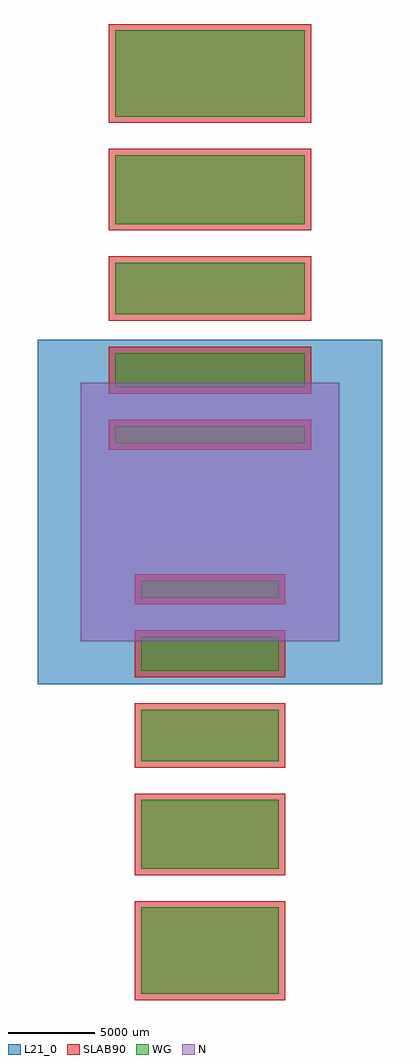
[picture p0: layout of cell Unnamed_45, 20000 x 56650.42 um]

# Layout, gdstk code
import gdstk
lib = gdstk.Library(unit=1e-6, precision=1e-09)
def R(c, l, rs):  # rectangles x0, y0, x1, y1
    for r in rs: c.add(gdstk.rectangle(r[:2], r[2:], *l))
WG = (1, 0)
SLAB90 = (3, 0)
N = (20, 0)
L21_0 = (21, 0)

rectangle_s8742p34_5742_ = lib.new_cell('rectangle_S8742p34_5742_4a83a035')
R(rectangle_s8742p34_5742_, SLAB90, [(0,0,8742.34,5742.34)])

rectangle_s8000_5000_l1_ = lib.new_cell('rectangle_S8000_5000_L1_2ba6e788')
R(rectangle_s8000_5000_l1_, WG, [(0,0,8000,5000)])

rectangle_s8742p34_2742_ = lib.new_cell('rectangle_S8742p34_2742_67719fb8')
R(rectangle_s8742p34_2742_, SLAB90, [(0,0,8742.34,2742.34)])

rectangle_s8742p34_4742_ = lib.new_cell('rectangle_S8742p34_4742_cfbb0fcc')
R(rectangle_s8742p34_4742_, SLAB90, [(0,0,8742.34,4742.34)])

rectangle_s8000_2000_l1_ = lib.new_cell('rectangle_S8000_2000_L1_fef059b4')
R(rectangle_s8000_2000_l1_, WG, [(0,0,8000,2000)])

rectangle_s8000_4000_l1_ = lib.new_cell('rectangle_S8000_4000_L1_e560298a')
R(rectangle_s8000_4000_l1_, WG, [(0,0,8000,4000)])

rectangle_s8742p34_1742_ = lib.new_cell('rectangle_S8742p34_1742_92dfabc6')
R(rectangle_s8742p34_1742_, SLAB90, [(0,0,8742.34,1742.34)])

rectangle_s11742p34_274_ = lib.new_cell('rectangle_S11742p34_274_6a9b768a')
R(rectangle_s11742p34_274_, SLAB90, [(0,0,11742.34,2742.34)])

rectangle_s11000_5000_l_ = lib.new_cell('rectangle_S11000_5000_L_96728673')
R(rectangle_s11000_5000_l_, WG, [(0,0,11000,5000)])

rectangle_s11000_2000_l_ = lib.new_cell('rectangle_S11000_2000_L_f2caadc2')
R(rectangle_s11000_2000_l_, WG, [(0,0,11000,2000)])

rectangle_s11742p34_474_ = lib.new_cell('rectangle_S11742p34_474_08453407')
R(rectangle_s11742p34_474_, SLAB90, [(0,0,11742.34,4742.34)])

rectangle_s11742p34_174_ = lib.new_cell('rectangle_S11742p34_174_d1575f04')
R(rectangle_s11742p34_174_, SLAB90, [(0,0,11742.34,1742.34)])

rectangle_s11000_4000_l_ = lib.new_cell('rectangle_S11000_4000_L_97ed778d')
R(rectangle_s11000_4000_l_, WG, [(0,0,11000,4000)])

rectangle_s8742p34_3742_ = lib.new_cell('rectangle_S8742p34_3742_07cf62c2')
R(rectangle_s8742p34_3742_, SLAB90, [(0,0,8742.34,3742.34)])

rectangle_s8000_1000_l1_ = lib.new_cell('rectangle_S8000_1000_L1_a64188b1')
R(rectangle_s8000_1000_l1_, WG, [(0,0,8000,1000)])

rectangle_s11742p34_374_ = lib.new_cell('rectangle_S11742p34_374_1a01b136')
R(rectangle_s11742p34_374_, SLAB90, [(0,0,11742.34,3742.34)])

rectangle_s8000_3000_l1_ = lib.new_cell('rectangle_S8000_3000_L1_61de9e99')
R(rectangle_s8000_3000_l1_, WG, [(0,0,8000,3000)])

rectangle_s11742p34_574_ = lib.new_cell('rectangle_S11742p34_574_9cf72433')
R(rectangle_s11742p34_574_, SLAB90, [(0,0,11742.34,5742.34)])

rectangle_s11000_3000_l_ = lib.new_cell('rectangle_S11000_3000_L_cfaf6baa')
R(rectangle_s11000_3000_l_, WG, [(0,0,11000,3000)])

rectangle_s20000_20000__ = lib.new_cell('rectangle_S20000_20000__aa48e1ac')
R(rectangle_s20000_20000__, L21_0, [(0,0,20000,20000)])

rectangle_s15000_15000__ = lib.new_cell('rectangle_S15000_15000__6a6c2047')
R(rectangle_s15000_15000__, N, [(0,0,15000,15000)])

rectangle_s11000_1000_l_ = lib.new_cell('rectangle_S11000_1000_L_7d1c9873')
R(rectangle_s11000_1000_l_, WG, [(0,0,11000,1000)])

unnamed_45 = lib.new_cell('Unnamed_45')
unnamed_45.add(gdstk.Reference(rectangle_s8742p34_5742_, (-4371.17,-28325.21)))
unnamed_45.add(gdstk.Reference(rectangle_s8000_5000_l1_, (-4000,-27954.04)))
unnamed_45.add(gdstk.Reference(rectangle_s8742p34_2742_, (-4371.17,-9598.19)))
unnamed_45.add(gdstk.Reference(rectangle_s8742p34_4742_, (-4371.17,-21082.87)))
unnamed_45.add(gdstk.Reference(rectangle_s8000_2000_l1_, (-4000,-9227.02)))
unnamed_45.add(gdstk.Reference(rectangle_s8000_4000_l1_, (-4000,-20711.7)))
unnamed_45.add(gdstk.Reference(rectangle_s8742p34_1742_, (-4371.17,-5355.85)))
unnamed_45.add(gdstk.Reference(rectangle_s11742p34_274_, (-5871.17,6855.85)))
unnamed_45.add(gdstk.Reference(rectangle_s11000_5000_l_, (-5500,22954.04)))
unnamed_45.add(gdstk.Reference(rectangle_s11000_2000_l_, (-5500,7227.02)))
unnamed_45.add(gdstk.Reference(rectangle_s11742p34_474_, (-5871.17,16340.53)))
unnamed_45.add(gdstk.Reference(rectangle_s11742p34_174_, (-5871.17,3613.51)))
unnamed_45.add(gdstk.Reference(rectangle_s11000_4000_l_, (-5500,16711.7)))
unnamed_45.add(gdstk.Reference(rectangle_s8742p34_3742_, (-4371.17,-14840.53)))
unnamed_45.add(gdstk.Reference(rectangle_s8000_1000_l1_, (-4000,-4984.68)))
unnamed_45.add(gdstk.Reference(rectangle_s11742p34_374_, (-5871.17,11098.19)))
unnamed_45.add(gdstk.Reference(rectangle_s8000_3000_l1_, (-4000,-14469.36)))
unnamed_45.add(gdstk.Reference(rectangle_s11742p34_574_, (-5871.17,22582.87)))
unnamed_45.add(gdstk.Reference(rectangle_s11000_3000_l_, (-5500,11469.36)))
unnamed_45.add(gdstk.Reference(rectangle_s20000_20000__, (-10000,-10000)))
unnamed_45.add(gdstk.Reference(rectangle_s15000_15000__, (-7500,-7500)))
unnamed_45.add(gdstk.Reference(rectangle_s11000_1000_l_, (-5500,3984.68)))

lib.write_gds('Unnamed_45.gds')
